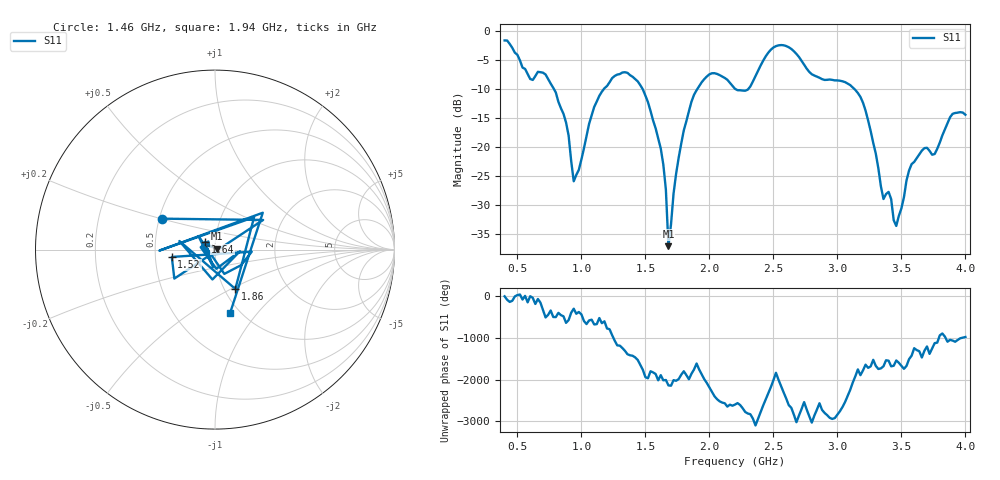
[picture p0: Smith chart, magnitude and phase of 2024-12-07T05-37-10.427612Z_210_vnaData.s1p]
!Created with skrf (http://scikit-rf.org).
# Hz S RI R 50.0
!freq ReS11 ImS11
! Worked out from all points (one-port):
!   181 points, 400 MHz to 4 GHz, reference 50 ohm
!   lowest |S11| = -37.2 dB at 1.68 GHz (marker M1), VSWR 1.03, Z = 51.3 + j0.479 ohm
!   |S11| at or under -10 dB: 785.8 MHz to 1.175 GHz (388.7 MHz wide, 39.7 % of centre); 1.479 GHz to 1.905 GHz (425.7 MHz wide, 25.2 % of centre); 3.134 GHz to end of sweep (the widest 3 of 4)
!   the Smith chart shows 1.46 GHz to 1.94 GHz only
!   S11 on the Smith chart (normalised r, x): 1.46 GHz: 0.52, +0.20; 1.52 GHz: 0.61, -0.05; 1.64 GHz: 0.89, +0.08; 1.86 GHz: 1.13, -0.53; 1.94 GHz: 0.90, -0.73
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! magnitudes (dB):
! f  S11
! 400 MHz  -1.6
! 600 MHz  -8.2
! 720 MHz  -7.5
! 860 MHz  -14.3
! 940 MHz  -25.9
! 1.1 GHz  -13.1
! 1.3 GHz  -7.4
! 1.46 GHz  -9.3
! 1.52 GHz  -12.2
! 1.64 GHz  -23.0
! 1.66 GHz  -27.4
! 1.68 GHz  -37.2
! 1.76 GHz  -21.8
! 1.86 GHz  -12.2
! 1.94 GHz  -8.8
! 2.2 GHz  -9.9
! 2.3 GHz  -10.1
! 2.5 GHz  -2.8
! 2.66 GHz  -3.4
! 3.1 GHz  -9.3
! 3.2 GHz  -12.3
! 3.36 GHz  -29.0
! 3.4 GHz  -27.8
! 3.46 GHz  -33.7
! 3.56 GHz  -24.1
! 3.76 GHz  -21.2
! 3.9 GHz  -14.3
! 4 GHz  -14.4
